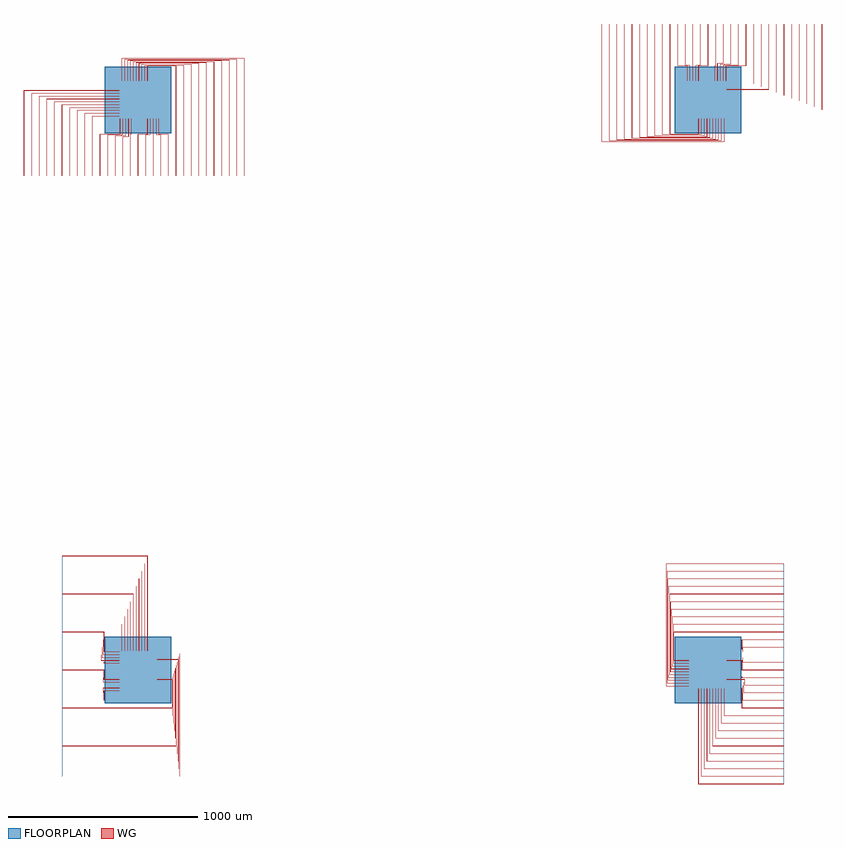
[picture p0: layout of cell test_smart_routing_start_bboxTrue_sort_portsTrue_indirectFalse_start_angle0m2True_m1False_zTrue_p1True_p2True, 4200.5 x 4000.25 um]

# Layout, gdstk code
import gdstk
lib = gdstk.Library(unit=1e-6, precision=1e-09)
def R(c, l, rs):  # rectangles x0, y0, x1, y1
    for r in rs: c.add(gdstk.rectangle(r[:2], r[2:], *l))
def P(c, l, *ps):  # polygons
    for p in ps: c.add(gdstk.Polygon(p, *l))
WG = (1, 0)
FLOORPLAN = (10, 0)

test_smart_routing_start = lib.new_cell('test_smart_routing_start_bboxTrue_sort_portsTrue_indirectFalse_start_angle0m2True_m1False_zTrue_p1True_p2True')
R(test_smart_routing_start, WG, [(-400,-80.25,-100,-80.05), (-400,-79.95,-100,-79.75), (3100,79.75,3400,79.95), (3100,80.05,3400,80.25), (79.75,2600,79.95,2900), (80.05,2600,80.25,2900), (2919.75,3100,2919.95,3400), (2920.05,3100,2920.25,3400)])
P(test_smart_routing_start, WG, [(3100,2950.05),(3100,2950.25),(3599.75,2950.25),(3599.75,3400),(3599.95,3400),(3599.95,2950.05)],
  [(3100,2949.75),(3100,2949.95),(3600.05,2949.95),(3600.05,3400),(3600.25,3400),(3600.25,2949.75)],
  [(3100,2965.05),(3100,2965.25),(3559.75,2965.25),(3559.75,3400),(3559.95,3400),(3559.95,2965.05)],
  [(3100,2964.75),(3100,2964.95),(3560.05,2964.95),(3560.05,3400),(3560.25,3400),(3560.25,2964.75)],
  [(3100,2980.05),(3100,2980.25),(3519.75,2980.25),(3519.75,3400),(3519.95,3400),(3519.95,2980.05)],
  [(3100,2979.75),(3100,2979.95),(3520.05,2979.95),(3520.05,3400),(3520.25,3400),(3520.25,2979.75)],
  [(3100,2995.05),(3100,2995.25),(3479.75,2995.25),(3479.75,3400),(3479.95,3400),(3479.95,2995.05)],
  [(3100,2994.75),(3100,2994.95),(3480.05,2994.95),(3480.05,3400),(3480.25,3400),(3480.25,2994.75)],
  [(3100,3010.05),(3100,3010.25),(3439.75,3010.25),(3439.75,3400),(3439.95,3400),(3439.95,3010.05)],
  [(3100,3009.75),(3100,3009.95),(3440.05,3009.95),(3440.05,3400),(3440.25,3400),(3440.25,3009.75)],
  [(3100,3025.05),(3100,3025.25),(3399.75,3025.25),(3399.75,3400),(3399.95,3400),(3399.95,3025.05)],
  [(3100,3024.75),(3100,3024.95),(3400.05,3024.95),(3400.05,3400),(3400.25,3400),(3400.25,3024.75)],
  [(3100,3040.05),(3100,3040.25),(3359.75,3040.25),(3359.75,3400),(3359.95,3400),(3359.95,3040.05)],
  [(3100,3039.75),(3100,3039.95),(3360.05,3039.95),(3360.05,3400),(3360.25,3400),(3360.25,3039.75)],
  [(3100,3055.05),(3100,3055.25),(3319.75,3055.25),(3319.75,3400),(3319.95,3400),(3319.95,3055.05)],
  [(3100,3054.75),(3100,3054.95),(3320.05,3054.95),(3320.05,3400),(3320.25,3400),(3320.25,3054.75)],
  [(3100,3070.05),(3100,3070.25),(3279.75,3070.25),(3279.75,3400),(3279.95,3400),(3279.95,3070.05)],
  [(3100,3069.75),(3100,3069.95),(3280.05,3069.95),(3280.05,3400),(3280.25,3400),(3280.25,3069.75)],
  [(3100,3085.05),(3100,3085.25),(3239.75,3085.25),(3239.75,3400),(3239.95,3400),(3239.95,3085.05)],
  [(3100,3084.75),(3100,3084.95),(3240.05,3084.95),(3240.05,3400),(3240.25,3400),(3240.25,3084.75)],
  [(3094.75,3100),(3094.75,3179.5),(3199.75,3179.5),(3199.75,3400),(3199.95,3400),(3199.95,3179.3),(3094.95,3179.3),(3094.95,3100)],
  [(3095.05,3100),(3095.05,3179.2),(3200.05,3179.2),(3200.05,3400),(3200.25,3400),(3200.25,3179),(3095.25,3179),(3095.25,3100)],
  [(3079.75,3100),(3079.75,3184),(3159.75,3184),(3159.75,3400),(3159.95,3400),(3159.95,3183.8),(3079.95,3183.8),(3079.95,3100)],
  [(3080.05,3100),(3080.05,3183.7),(3160.05,3183.7),(3160.05,3400),(3160.25,3400),(3160.25,3183.5),(3080.25,3183.5),(3080.25,3100)],
  [(3064.75,3100),(3064.75,3188.5),(3119.75,3188.5),(3119.75,3400),(3119.95,3400),(3119.95,3188.3),(3064.95,3188.3),(3064.95,3100)],
  [(3065.05,3100),(3065.05,3188.2),(3120.05,3188.2),(3120.05,3400),(3120.25,3400),(3120.25,3188),(3065.25,3188),(3065.25,3100)],
  [(3049.75,3100),(3049.75,3193),(3079.75,3193),(3079.75,3400),(3079.95,3400),(3079.95,3192.8),(3049.95,3192.8),(3049.95,3100)],
  [(3050.05,3100),(3050.05,3192.7),(3080.05,3192.7),(3080.05,3400),(3080.25,3400),(3080.25,3192.5),(3050.25,3192.5),(3050.25,3100)],
  [(3034.75,3100),(3034.75,3179.5),(3039.75,3179.5),(3039.75,3400),(3039.95,3400),(3039.95,3179.3),(3034.95,3179.3),(3034.95,3100)],
  [(3035.05,3100),(3035.05,3179.2),(3040.05,3179.2),(3040.05,3400),(3040.25,3400),(3040.25,3179),(3035.25,3179),(3035.25,3100)],
  [(2949.75,3100),(2949.75,3179.5),(2999.75,3179.5),(2999.75,3400),(2999.95,3400),(2999.95,3179.3),(2949.95,3179.3),(2949.95,3100)],
  [(2950.05,3100),(2950.05,3179.2),(3000.05,3179.2),(3000.05,3400),(3000.25,3400),(3000.25,3179),(2950.25,3179),(2950.25,3100)],
  [(2934.75,3100),(2934.75,3184),(2959.75,3184),(2959.75,3400),(2959.95,3400),(2959.95,3183.8),(2934.95,3183.8),(2934.95,3100)],
  [(2935.05,3100),(2935.05,3183.7),(2960.05,3183.7),(2960.05,3400),(2960.25,3400),(2960.25,3183.5),(2935.25,3183.5),(2935.25,3100)],
  [(2904.75,3100),(2904.75,3183.5),(2879.75,3183.5),(2879.75,3400),(2879.95,3400),(2879.95,3183.7),(2904.95,3183.7),(2904.95,3100)],
  [(2905.05,3100),(2905.05,3183.8),(2880.05,3183.8),(2880.05,3400),(2880.25,3400),(2880.25,3184),(2905.25,3184),(2905.25,3100)],
  [(2889.75,3100),(2889.75,3179),(2839.75,3179),(2839.75,3400),(2839.95,3400),(2839.95,3179.2),(2889.95,3179.2),(2889.95,3100)],
  [(2890.05,3100),(2890.05,3179.3),(2840.05,3179.3),(2840.05,3400),(2840.25,3400),(2840.25,3179.5),(2890.25,3179.5),(2890.25,3100)],
  [(2799.75,2820.5),(2799.75,3400),(2799.95,3400),(2799.95,2820.7),(2950.05,2820.7),(2950.05,2900),(2950.25,2900),(2950.25,2820.5)],
  [(2800.05,2820.8),(2800.05,3400),(2800.25,3400),(2800.25,2821),(2949.75,2821),(2949.75,2900),(2949.95,2900),(2949.95,2820.8)],
  [(2759.75,2816),(2759.75,3400),(2759.95,3400),(2759.95,2816.2),(2965.05,2816.2),(2965.05,2900),(2965.25,2900),(2965.25,2816)],
  [(2760.05,2816.3),(2760.05,3400),(2760.25,3400),(2760.25,2816.5),(2964.75,2816.5),(2964.75,2900),(2964.95,2900),(2964.95,2816.3)],
  [(2719.75,2811.5),(2719.75,3400),(2719.95,3400),(2719.95,2811.7),(2980.05,2811.7),(2980.05,2900),(2980.25,2900),(2980.25,2811.5)],
  [(2720.05,2811.8),(2720.05,3400),(2720.25,3400),(2720.25,2812),(2979.75,2812),(2979.75,2900),(2979.95,2900),(2979.95,2811.8)],
  [(2679.75,2807),(2679.75,3400),(2679.95,3400),(2679.95,2807.2),(2995.05,2807.2),(2995.05,2900),(2995.25,2900),(2995.25,2807)],
  [(2680.05,2807.3),(2680.05,3400),(2680.25,3400),(2680.25,2807.5),(2994.75,2807.5),(2994.75,2900),(2994.95,2900),(2994.95,2807.3)],
  [(2639.75,2802.5),(2639.75,3400),(2639.95,3400),(2639.95,2802.7),(3010.05,2802.7),(3010.05,2900),(3010.25,2900),(3010.25,2802.5)],
  [(2640.05,2802.8),(2640.05,3400),(2640.25,3400),(2640.25,2803),(3009.75,2803),(3009.75,2900),(3009.95,2900),(3009.95,2802.8)],
  [(2599.75,2798),(2599.75,3400),(2599.95,3400),(2599.95,2798.2),(3025.05,2798.2),(3025.05,2900),(3025.25,2900),(3025.25,2798)],
  [(2600.05,2798.3),(2600.05,3400),(2600.25,3400),(2600.25,2798.5),(3024.75,2798.5),(3024.75,2900),(3024.95,2900),(3024.95,2798.3)],
  [(2559.75,2793.5),(2559.75,3400),(2559.95,3400),(2559.95,2793.7),(3040.05,2793.7),(3040.05,2900),(3040.25,2900),(3040.25,2793.5)],
  [(2560.05,2793.8),(2560.05,3400),(2560.25,3400),(2560.25,2794),(3039.75,2794),(3039.75,2900),(3039.95,2900),(3039.95,2793.8)],
  [(2519.75,2789),(2519.75,3400),(2519.95,3400),(2519.95,2789.2),(3055.05,2789.2),(3055.05,2900),(3055.25,2900),(3055.25,2789)],
  [(2520.05,2789.3),(2520.05,3400),(2520.25,3400),(2520.25,2789.5),(3054.75,2789.5),(3054.75,2900),(3054.95,2900),(3054.95,2789.3)],
  [(2479.75,2784.5),(2479.75,3400),(2479.95,3400),(2479.95,2784.7),(3070.05,2784.7),(3070.05,2900),(3070.25,2900),(3070.25,2784.5)],
  [(2480.05,2784.8),(2480.05,3400),(2480.25,3400),(2480.25,2785),(3069.75,2785),(3069.75,2900),(3069.95,2900),(3069.95,2784.8)],
  [(2439.75,2780),(2439.75,3400),(2439.95,3400),(2439.95,2780.2),(3085.05,2780.2),(3085.05,2900),(3085.25,2900),(3085.25,2780)],
  [(2440.05,2780.3),(2440.05,3400),(2440.25,3400),(2440.25,2780.5),(3084.75,2780.5),(3084.75,2900),(3084.95,2900),(3084.95,2780.3)],
  [(-599.95,2600),(-599.95,3049.95),(-100,3049.95),(-100,3049.75),(-599.75,3049.75),(-599.75,2600)],
  [(-600.25,2600),(-600.25,3050.25),(-100,3050.25),(-100,3050.05),(-600.05,3050.05),(-600.05,2600)],
  [(-559.95,2600),(-559.95,3034.95),(-100,3034.95),(-100,3034.75),(-559.75,3034.75),(-559.75,2600)],
  [(-560.25,2600),(-560.25,3035.25),(-100,3035.25),(-100,3035.05),(-560.05,3035.05),(-560.05,2600)],
  [(-519.95,2600),(-519.95,3019.95),(-100,3019.95),(-100,3019.75),(-519.75,3019.75),(-519.75,2600)],
  [(-520.25,2600),(-520.25,3020.25),(-100,3020.25),(-100,3020.05),(-520.05,3020.05),(-520.05,2600)],
  [(-479.95,2600),(-479.95,3004.95),(-100,3004.95),(-100,3004.75),(-479.75,3004.75),(-479.75,2600)],
  [(-480.25,2600),(-480.25,3005.25),(-100,3005.25),(-100,3005.05),(-480.05,3005.05),(-480.05,2600)],
  [(-439.95,2600),(-439.95,2989.95),(-100,2989.95),(-100,2989.75),(-439.75,2989.75),(-439.75,2600)],
  [(-440.25,2600),(-440.25,2990.25),(-100,2990.25),(-100,2990.05),(-440.05,2990.05),(-440.05,2600)],
  [(-399.95,2600),(-399.95,2974.95),(-100,2974.95),(-100,2974.75),(-399.75,2974.75),(-399.75,2600)],
  [(-400.25,2600),(-400.25,2975.25),(-100,2975.25),(-100,2975.05),(-400.05,2975.05),(-400.05,2600)],
  [(-359.95,2600),(-359.95,2959.95),(-100,2959.95),(-100,2959.75),(-359.75,2959.75),(-359.75,2600)],
  [(-360.25,2600),(-360.25,2960.25),(-100,2960.25),(-100,2960.05),(-360.05,2960.05),(-360.05,2600)],
  [(-319.95,2600),(-319.95,2944.95),(-100,2944.95),(-100,2944.75),(-319.75,2944.75),(-319.75,2600)],
  [(-320.25,2600),(-320.25,2945.25),(-100,2945.25),(-100,2945.05),(-320.05,2945.05),(-320.05,2600)],
  [(-279.95,2600),(-279.95,2929.95),(-100,2929.95),(-100,2929.75),(-279.75,2929.75),(-279.75,2600)],
  [(-280.25,2600),(-280.25,2930.25),(-100,2930.25),(-100,2930.05),(-280.05,2930.05),(-280.05,2600)],
  [(-239.95,2600),(-239.95,2914.95),(-100,2914.95),(-100,2914.75),(-239.75,2914.75),(-239.75,2600)],
  [(-240.25,2600),(-240.25,2915.25),(-100,2915.25),(-100,2915.05),(-240.05,2915.05),(-240.05,2600)],
  [(-200.25,2600),(-200.25,2821),(-95.25,2821),(-95.25,2900),(-95.05,2900),(-95.05,2820.8),(-200.05,2820.8),(-200.05,2600)],
  [(-199.95,2600),(-199.95,2820.7),(-94.95,2820.7),(-94.95,2900),(-94.75,2900),(-94.75,2820.5),(-199.75,2820.5),(-199.75,2600)],
  [(-160.25,2600),(-160.25,2816.5),(-80.25,2816.5),(-80.25,2900),(-80.05,2900),(-80.05,2816.3),(-160.05,2816.3),(-160.05,2600)],
  [(-159.95,2600),(-159.95,2816.2),(-79.95,2816.2),(-79.95,2900),(-79.75,2900),(-79.75,2816),(-159.75,2816),(-159.75,2600)],
  [(-120.25,2600),(-120.25,2812),(-65.25,2812),(-65.25,2900),(-65.05,2900),(-65.05,2811.8),(-120.05,2811.8),(-120.05,2600)],
  [(-119.95,2600),(-119.95,2811.7),(-64.95,2811.7),(-64.95,2900),(-64.75,2900),(-64.75,2811.5),(-119.75,2811.5),(-119.75,2600)],
  [(-80.25,2600),(-80.25,2807.5),(-50.25,2807.5),(-50.25,2900),(-50.05,2900),(-50.05,2807.3),(-80.05,2807.3),(-80.05,2600)],
  [(-79.95,2600),(-79.95,2807.2),(-49.95,2807.2),(-49.95,2900),(-49.75,2900),(-49.75,2807),(-79.75,2807),(-79.75,2600)],
  [(-40.25,2600),(-40.25,2821),(-35.25,2821),(-35.25,2900),(-35.05,2900),(-35.05,2820.8),(-40.05,2820.8),(-40.05,2600)],
  [(-39.95,2600),(-39.95,2820.7),(-34.95,2820.7),(-34.95,2900),(-34.75,2900),(-34.75,2820.5),(-39.75,2820.5),(-39.75,2600)],
  [(-0.25,2600),(-0.25,2821),(49.75,2821),(49.75,2900),(49.95,2900),(49.95,2820.8),(-0.05,2820.8),(-0.05,2600)],
  [(0.05,2600),(0.05,2820.7),(50.05,2820.7),(50.05,2900),(50.25,2900),(50.25,2820.5),(0.25,2820.5),(0.25,2600)],
  [(39.75,2600),(39.75,2816.5),(64.75,2816.5),(64.75,2900),(64.95,2900),(64.95,2816.3),(39.95,2816.3),(39.95,2600)],
  [(40.05,2600),(40.05,2816.2),(65.05,2816.2),(65.05,2900),(65.25,2900),(65.25,2816),(40.25,2816),(40.25,2600)],
  [(119.75,2600),(119.75,2816),(94.75,2816),(94.75,2900),(94.95,2900),(94.95,2816.2),(119.95,2816.2),(119.95,2600)],
  [(120.05,2600),(120.05,2816.3),(95.05,2816.3),(95.05,2900),(95.25,2900),(95.25,2816.5),(120.25,2816.5),(120.25,2600)],
  [(159.75,2600),(159.75,2820.5),(109.75,2820.5),(109.75,2900),(109.95,2900),(109.95,2820.7),(159.95,2820.7),(159.95,2600)],
  [(160.05,2600),(160.05,2820.8),(110.05,2820.8),(110.05,2900),(110.25,2900),(110.25,2821),(160.25,2821),(160.25,2600)],
  [(199.75,2600),(199.75,3179),(50.25,3179),(50.25,3100),(50.05,3100),(50.05,3179.2),(199.95,3179.2),(199.95,2600)],
  [(200.05,2600),(200.05,3179.3),(49.95,3179.3),(49.95,3100),(49.75,3100),(49.75,3179.5),(200.25,3179.5),(200.25,2600)],
  [(239.75,2600),(239.75,3183.5),(35.25,3183.5),(35.25,3100),(35.05,3100),(35.05,3183.7),(239.95,3183.7),(239.95,2600)],
  [(240.05,2600),(240.05,3183.8),(34.95,3183.8),(34.95,3100),(34.75,3100),(34.75,3184),(240.25,3184),(240.25,2600)],
  [(279.75,2600),(279.75,3188),(20.25,3188),(20.25,3100),(20.05,3100),(20.05,3188.2),(279.95,3188.2),(279.95,2600)],
  [(280.05,2600),(280.05,3188.3),(19.95,3188.3),(19.95,3100),(19.75,3100),(19.75,3188.5),(280.25,3188.5),(280.25,2600)],
  [(319.75,2600),(319.75,3192.5),(5.25,3192.5),(5.25,3100),(5.05,3100),(5.05,3192.7),(319.95,3192.7),(319.95,2600)],
  [(320.05,2600),(320.05,3192.8),(4.95,3192.8),(4.95,3100),(4.75,3100),(4.75,3193),(320.25,3193),(320.25,2600)],
  [(359.75,2600),(359.75,3197),(-9.75,3197),(-9.75,3100),(-9.95,3100),(-9.95,3197.2),(359.95,3197.2),(359.95,2600)],
  [(360.05,2600),(360.05,3197.3),(-10.05,3197.3),(-10.05,3100),(-10.25,3100),(-10.25,3197.5),(360.25,3197.5),(360.25,2600)],
  [(399.75,2600),(399.75,3201.5),(-24.75,3201.5),(-24.75,3100),(-24.95,3100),(-24.95,3201.7),(399.95,3201.7),(399.95,2600)],
  [(400.05,2600),(400.05,3201.8),(-25.05,3201.8),(-25.05,3100),(-25.25,3100),(-25.25,3202),(400.25,3202),(400.25,2600)],
  [(439.75,2600),(439.75,3206),(-39.75,3206),(-39.75,3100),(-39.95,3100),(-39.95,3206.2),(439.95,3206.2),(439.95,2600)],
  [(440.05,2600),(440.05,3206.3),(-40.05,3206.3),(-40.05,3100),(-40.25,3100),(-40.25,3206.5),(440.25,3206.5),(440.25,2600)],
  [(479.75,2600),(479.75,3210.5),(-54.75,3210.5),(-54.75,3100),(-54.95,3100),(-54.95,3210.7),(479.95,3210.7),(479.95,2600)],
  [(480.05,2600),(480.05,3210.8),(-55.05,3210.8),(-55.05,3100),(-55.25,3100),(-55.25,3211),(480.25,3211),(480.25,2600)],
  [(519.75,2600),(519.75,3215),(-69.75,3215),(-69.75,3100),(-69.95,3100),(-69.95,3215.2),(519.95,3215.2),(519.95,2600)],
  [(520.05,2600),(520.05,3215.3),(-70.05,3215.3),(-70.05,3100),(-70.25,3100),(-70.25,3215.5),(520.25,3215.5),(520.25,2600)],
  [(559.75,2600),(559.75,3219.5),(-84.75,3219.5),(-84.75,3100),(-84.95,3100),(-84.95,3219.7),(559.95,3219.7),(559.95,2600)],
  [(560.05,2600),(560.05,3219.8),(-85.05,3219.8),(-85.05,3100),(-85.25,3100),(-85.25,3220),(560.25,3220),(560.25,2600)],
  [(49.75,100),(49.75,599.75),(-400,599.75),(-400,599.95),(49.95,599.95),(49.95,100)],
  [(50.05,100),(50.05,600.05),(-400,600.05),(-400,600.25),(50.25,600.25),(50.25,100)],
  [(34.75,100),(34.75,559.75),(-400,559.75),(-400,559.95),(34.95,559.95),(34.95,100)],
  [(35.05,100),(35.05,560.05),(-400,560.05),(-400,560.25),(35.25,560.25),(35.25,100)],
  [(19.75,100),(19.75,519.75),(-400,519.75),(-400,519.95),(19.95,519.95),(19.95,100)],
  [(20.05,100),(20.05,520.05),(-400,520.05),(-400,520.25),(20.25,520.25),(20.25,100)],
  [(4.75,100),(4.75,479.75),(-400,479.75),(-400,479.95),(4.95,479.95),(4.95,100)],
  [(5.05,100),(5.05,480.05),(-400,480.05),(-400,480.25),(5.25,480.25),(5.25,100)],
  [(-10.25,100),(-10.25,439.75),(-400,439.75),(-400,439.95),(-10.05,439.95),(-10.05,100)],
  [(-9.95,100),(-9.95,440.05),(-400,440.05),(-400,440.25),(-9.75,440.25),(-9.75,100)],
  [(-25.25,100),(-25.25,399.75),(-400,399.75),(-400,399.95),(-25.05,399.95),(-25.05,100)],
  [(-24.95,100),(-24.95,400.05),(-400,400.05),(-400,400.25),(-24.75,400.25),(-24.75,100)],
  [(-40.25,100),(-40.25,359.75),(-400,359.75),(-400,359.95),(-40.05,359.95),(-40.05,100)],
  [(-39.95,100),(-39.95,360.05),(-400,360.05),(-400,360.25),(-39.75,360.25),(-39.75,100)],
  [(-55.25,100),(-55.25,319.75),(-400,319.75),(-400,319.95),(-55.05,319.95),(-55.05,100)],
  [(-54.95,100),(-54.95,320.05),(-400,320.05),(-400,320.25),(-54.75,320.25),(-54.75,100)],
  [(-70.25,100),(-70.25,279.75),(-400,279.75),(-400,279.95),(-70.05,279.95),(-70.05,100)],
  [(-69.95,100),(-69.95,280.05),(-400,280.05),(-400,280.25),(-69.75,280.25),(-69.75,100)],
  [(-85.25,100),(-85.25,239.75),(-400,239.75),(-400,239.95),(-85.05,239.95),(-85.05,100)],
  [(-84.95,100),(-84.95,240.05),(-400,240.05),(-400,240.25),(-84.75,240.25),(-84.75,100)],
  [(-179.5,94.75),(-179.5,199.75),(-400,199.75),(-400,199.95),(-179.3,199.95),(-179.3,94.95),(-100,94.95),(-100,94.75)],
  [(-179.2,95.05),(-179.2,200.05),(-400,200.05),(-400,200.25),(-179,200.25),(-179,95.25),(-100,95.25),(-100,95.05)],
  [(-184,79.75),(-184,159.75),(-400,159.75),(-400,159.95),(-183.8,159.95),(-183.8,79.95),(-100,79.95),(-100,79.75)],
  [(-183.7,80.05),(-183.7,160.05),(-400,160.05),(-400,160.25),(-183.5,160.25),(-183.5,80.25),(-100,80.25),(-100,80.05)],
  [(-188.5,64.75),(-188.5,119.75),(-400,119.75),(-400,119.95),(-188.3,119.95),(-188.3,64.95),(-100,64.95),(-100,64.75)],
  [(-188.2,65.05),(-188.2,120.05),(-400,120.05),(-400,120.25),(-188,120.25),(-188,65.25),(-100,65.25),(-100,65.05)],
  [(-193,49.75),(-193,79.75),(-400,79.75),(-400,79.95),(-192.8,79.95),(-192.8,49.95),(-100,49.95),(-100,49.75)],
  [(-192.7,50.05),(-192.7,80.05),(-400,80.05),(-400,80.25),(-192.5,80.25),(-192.5,50.25),(-100,50.25),(-100,50.05)],
  [(-179.5,34.75),(-179.5,39.75),(-400,39.75),(-400,39.95),(-179.3,39.95),(-179.3,34.95),(-100,34.95),(-100,34.75)],
  [(-179.2,35.05),(-179.2,40.05),(-400,40.05),(-400,40.25),(-179,40.25),(-179,35.25),(-100,35.25),(-100,35.05)],
  [(-179.5,-50.25),(-179.5,-0.25),(-400,-0.25),(-400,-0.05),(-179.3,-0.05),(-179.3,-50.05),(-100,-50.05),(-100,-50.25)],
  [(-179.2,-49.95),(-179.2,0.05),(-400,0.05),(-400,0.25),(-179,0.25),(-179,-49.75),(-100,-49.75),(-100,-49.95)],
  [(-184,-65.25),(-184,-40.25),(-400,-40.25),(-400,-40.05),(-183.8,-40.05),(-183.8,-65.05),(-100,-65.05),(-100,-65.25)],
  [(-183.7,-64.95),(-183.7,-39.95),(-400,-39.95),(-400,-39.75),(-183.5,-39.75),(-183.5,-64.75),(-100,-64.75),(-100,-64.95)],
  [(-400,-120.25),(-400,-120.05),(-183.7,-120.05),(-183.7,-95.05),(-100,-95.05),(-100,-95.25),(-183.5,-95.25),(-183.5,-120.25)],
  [(-400,-119.95),(-400,-119.75),(-184,-119.75),(-184,-94.75),(-100,-94.75),(-100,-94.95),(-183.8,-94.95),(-183.8,-119.95)],
  [(-400,-160.25),(-400,-160.05),(-179.2,-160.05),(-179.2,-110.05),(-100,-110.05),(-100,-110.25),(-179,-110.25),(-179,-160.25)],
  [(-400,-159.95),(-400,-159.75),(-179.5,-159.75),(-179.5,-109.75),(-100,-109.75),(-100,-109.95),(-179.3,-109.95),(-179.3,-159.95)],
  [(-400,-199.95),(-400,-199.75),(179,-199.75),(179,-50.25),(100,-50.25),(100,-50.05),(179.2,-50.05),(179.2,-199.95)],
  [(-400,-200.25),(-400,-200.05),(179.3,-200.05),(179.3,-49.95),(100,-49.95),(100,-49.75),(179.5,-49.75),(179.5,-200.25)],
  [(-400,-239.95),(-400,-239.75),(183.5,-239.75),(183.5,-35.25),(100,-35.25),(100,-35.05),(183.7,-35.05),(183.7,-239.95)],
  [(-400,-240.25),(-400,-240.05),(183.8,-240.05),(183.8,-34.95),(100,-34.95),(100,-34.75),(184,-34.75),(184,-240.25)],
  [(-400,-279.95),(-400,-279.75),(188,-279.75),(188,-20.25),(100,-20.25),(100,-20.05),(188.2,-20.05),(188.2,-279.95)],
  [(-400,-280.25),(-400,-280.05),(188.3,-280.05),(188.3,-19.95),(100,-19.95),(100,-19.75),(188.5,-19.75),(188.5,-280.25)],
  [(-400,-319.95),(-400,-319.75),(192.5,-319.75),(192.5,-5.25),(100,-5.25),(100,-5.05),(192.7,-5.05),(192.7,-319.95)],
  [(-400,-320.25),(-400,-320.05),(192.8,-320.05),(192.8,-4.95),(100,-4.95),(100,-4.75),(193,-4.75),(193,-320.25)],
  [(-400,-359.95),(-400,-359.75),(197,-359.75),(197,9.75),(100,9.75),(100,9.95),(197.2,9.95),(197.2,-359.95)],
  [(-400,-360.25),(-400,-360.05),(197.3,-360.05),(197.3,10.05),(100,10.05),(100,10.25),(197.5,10.25),(197.5,-360.25)],
  [(-400,-399.95),(-400,-399.75),(201.5,-399.75),(201.5,24.75),(100,24.75),(100,24.95),(201.7,24.95),(201.7,-399.95)],
  [(-400,-400.25),(-400,-400.05),(201.8,-400.05),(201.8,25.05),(100,25.05),(100,25.25),(202,25.25),(202,-400.25)],
  [(-400,-439.95),(-400,-439.75),(206,-439.75),(206,39.75),(100,39.75),(100,39.95),(206.2,39.95),(206.2,-439.95)],
  [(-400,-440.25),(-400,-440.05),(206.3,-440.05),(206.3,40.05),(100,40.05),(100,40.25),(206.5,40.25),(206.5,-440.25)],
  [(-400,-479.95),(-400,-479.75),(210.5,-479.75),(210.5,54.75),(100,54.75),(100,54.95),(210.7,54.95),(210.7,-479.95)],
  [(-400,-480.25),(-400,-480.05),(210.8,-480.05),(210.8,55.05),(100,55.05),(100,55.25),(211,55.25),(211,-480.25)],
  [(-400,-519.95),(-400,-519.75),(215,-519.75),(215,69.75),(100,69.75),(100,69.95),(215.2,69.95),(215.2,-519.95)],
  [(-400,-520.25),(-400,-520.05),(215.3,-520.05),(215.3,70.05),(100,70.05),(100,70.25),(215.5,70.25),(215.5,-520.25)],
  [(-400,-559.95),(-400,-559.75),(219.5,-559.75),(219.5,84.75),(100,84.75),(100,84.95),(219.7,84.95),(219.7,-559.95)],
  [(-400,-560.25),(-400,-560.05),(219.8,-560.05),(219.8,85.05),(100,85.05),(100,85.25),(220,85.25),(220,-560.25)],
  [(2949.75,-600.25),(2949.75,-100),(2949.95,-100),(2949.95,-600.05),(3400,-600.05),(3400,-600.25)],
  [(2950.05,-599.95),(2950.05,-100),(2950.25,-100),(2950.25,-599.75),(3400,-599.75),(3400,-599.95)],
  [(2964.75,-560.25),(2964.75,-100),(2964.95,-100),(2964.95,-560.05),(3400,-560.05),(3400,-560.25)],
  [(2965.05,-559.95),(2965.05,-100),(2965.25,-100),(2965.25,-559.75),(3400,-559.75),(3400,-559.95)],
  [(2979.75,-520.25),(2979.75,-100),(2979.95,-100),(2979.95,-520.05),(3400,-520.05),(3400,-520.25)],
  [(2980.05,-519.95),(2980.05,-100),(2980.25,-100),(2980.25,-519.75),(3400,-519.75),(3400,-519.95)],
  [(2994.75,-480.25),(2994.75,-100),(2994.95,-100),(2994.95,-480.05),(3400,-480.05),(3400,-480.25)],
  [(2995.05,-479.95),(2995.05,-100),(2995.25,-100),(2995.25,-479.75),(3400,-479.75),(3400,-479.95)],
  [(3009.75,-440.25),(3009.75,-100),(3009.95,-100),(3009.95,-440.05),(3400,-440.05),(3400,-440.25)],
  [(3010.05,-439.95),(3010.05,-100),(3010.25,-100),(3010.25,-439.75),(3400,-439.75),(3400,-439.95)],
  [(3024.75,-400.25),(3024.75,-100),(3024.95,-100),(3024.95,-400.05),(3400,-400.05),(3400,-400.25)],
  [(3025.05,-399.95),(3025.05,-100),(3025.25,-100),(3025.25,-399.75),(3400,-399.75),(3400,-399.95)],
  [(3039.75,-360.25),(3039.75,-100),(3039.95,-100),(3039.95,-360.05),(3400,-360.05),(3400,-360.25)],
  [(3040.05,-359.95),(3040.05,-100),(3040.25,-100),(3040.25,-359.75),(3400,-359.75),(3400,-359.95)],
  [(3054.75,-320.25),(3054.75,-100),(3054.95,-100),(3054.95,-320.05),(3400,-320.05),(3400,-320.25)],
  [(3055.05,-319.95),(3055.05,-100),(3055.25,-100),(3055.25,-319.75),(3400,-319.75),(3400,-319.95)],
  [(3069.75,-280.25),(3069.75,-100),(3069.95,-100),(3069.95,-280.05),(3400,-280.05),(3400,-280.25)],
  [(3070.05,-279.95),(3070.05,-100),(3070.25,-100),(3070.25,-279.75),(3400,-279.75),(3400,-279.95)],
  [(3084.75,-240.25),(3084.75,-100),(3084.95,-100),(3084.95,-240.05),(3400,-240.05),(3400,-240.25)],
  [(3085.05,-239.95),(3085.05,-100),(3085.25,-100),(3085.25,-239.75),(3400,-239.75),(3400,-239.95)],
  [(3179,-200.25),(3179,-95.25),(3100,-95.25),(3100,-95.05),(3179.2,-95.05),(3179.2,-200.05),(3400,-200.05),(3400,-200.25)],
  [(3179.3,-199.95),(3179.3,-94.95),(3100,-94.95),(3100,-94.75),(3179.5,-94.75),(3179.5,-199.75),(3400,-199.75),(3400,-199.95)],
  [(3183.5,-160.25),(3183.5,-80.25),(3100,-80.25),(3100,-80.05),(3183.7,-80.05),(3183.7,-160.05),(3400,-160.05),(3400,-160.25)],
  [(3183.8,-159.95),(3183.8,-79.95),(3100,-79.95),(3100,-79.75),(3184,-79.75),(3184,-159.75),(3400,-159.75),(3400,-159.95)],
  [(3188,-120.25),(3188,-65.25),(3100,-65.25),(3100,-65.05),(3188.2,-65.05),(3188.2,-120.05),(3400,-120.05),(3400,-120.25)],
  [(3188.3,-119.95),(3188.3,-64.95),(3100,-64.95),(3100,-64.75),(3188.5,-64.75),(3188.5,-119.75),(3400,-119.75),(3400,-119.95)],
  [(3192.5,-80.25),(3192.5,-50.25),(3100,-50.25),(3100,-50.05),(3192.7,-50.05),(3192.7,-80.05),(3400,-80.05),(3400,-80.25)],
  [(3192.8,-79.95),(3192.8,-49.95),(3100,-49.95),(3100,-49.75),(3193,-49.75),(3193,-79.75),(3400,-79.75),(3400,-79.95)],
  [(3179,-40.25),(3179,-35.25),(3100,-35.25),(3100,-35.05),(3179.2,-35.05),(3179.2,-40.05),(3400,-40.05),(3400,-40.25)],
  [(3179.3,-39.95),(3179.3,-34.95),(3100,-34.95),(3100,-34.75),(3179.5,-34.75),(3179.5,-39.75),(3400,-39.75),(3400,-39.95)],
  [(3179,-0.25),(3179,49.75),(3100,49.75),(3100,49.95),(3179.2,49.95),(3179.2,-0.05),(3400,-0.05),(3400,-0.25)],
  [(3179.3,0.05),(3179.3,50.05),(3100,50.05),(3100,50.25),(3179.5,50.25),(3179.5,0.25),(3400,0.25),(3400,0.05)],
  [(3183.5,39.75),(3183.5,64.75),(3100,64.75),(3100,64.95),(3183.7,64.95),(3183.7,39.95),(3400,39.95),(3400,39.75)],
  [(3183.8,40.05),(3183.8,65.05),(3100,65.05),(3100,65.25),(3184,65.25),(3184,40.25),(3400,40.25),(3400,40.05)],
  [(3100,94.75),(3100,94.95),(3183.8,94.95),(3183.8,119.95),(3400,119.95),(3400,119.75),(3184,119.75),(3184,94.75)],
  [(3100,95.05),(3100,95.25),(3183.5,95.25),(3183.5,120.25),(3400,120.25),(3400,120.05),(3183.7,120.05),(3183.7,95.05)],
  [(3100,109.75),(3100,109.95),(3179.3,109.95),(3179.3,159.95),(3400,159.95),(3400,159.75),(3179.5,159.75),(3179.5,109.75)],
  [(3100,110.05),(3100,110.25),(3179,110.25),(3179,160.25),(3400,160.25),(3400,160.05),(3179.2,160.05),(3179.2,110.05)],
  [(2820.8,50.05),(2820.8,199.95),(3400,199.95),(3400,199.75),(2821,199.75),(2821,50.25),(2900,50.25),(2900,50.05)],
  [(2820.5,49.75),(2820.5,200.25),(3400,200.25),(3400,200.05),(2820.7,200.05),(2820.7,49.95),(2900,49.95),(2900,49.75)],
  [(2816.3,35.05),(2816.3,239.95),(3400,239.95),(3400,239.75),(2816.5,239.75),(2816.5,35.25),(2900,35.25),(2900,35.05)],
  [(2816,34.75),(2816,240.25),(3400,240.25),(3400,240.05),(2816.2,240.05),(2816.2,34.95),(2900,34.95),(2900,34.75)],
  [(2811.8,20.05),(2811.8,279.95),(3400,279.95),(3400,279.75),(2812,279.75),(2812,20.25),(2900,20.25),(2900,20.05)],
  [(2811.5,19.75),(2811.5,280.25),(3400,280.25),(3400,280.05),(2811.7,280.05),(2811.7,19.95),(2900,19.95),(2900,19.75)],
  [(2807.3,5.05),(2807.3,319.95),(3400,319.95),(3400,319.75),(2807.5,319.75),(2807.5,5.25),(2900,5.25),(2900,5.05)],
  [(2807,4.75),(2807,320.25),(3400,320.25),(3400,320.05),(2807.2,320.05),(2807.2,4.95),(2900,4.95),(2900,4.75)],
  [(2802.8,-9.95),(2802.8,359.95),(3400,359.95),(3400,359.75),(2803,359.75),(2803,-9.75),(2900,-9.75),(2900,-9.95)],
  [(2802.5,-10.25),(2802.5,360.25),(3400,360.25),(3400,360.05),(2802.7,360.05),(2802.7,-10.05),(2900,-10.05),(2900,-10.25)],
  [(2798.3,-24.95),(2798.3,399.95),(3400,399.95),(3400,399.75),(2798.5,399.75),(2798.5,-24.75),(2900,-24.75),(2900,-24.95)],
  [(2798,-25.25),(2798,400.25),(3400,400.25),(3400,400.05),(2798.2,400.05),(2798.2,-25.05),(2900,-25.05),(2900,-25.25)],
  [(2793.8,-39.95),(2793.8,439.95),(3400,439.95),(3400,439.75),(2794,439.75),(2794,-39.75),(2900,-39.75),(2900,-39.95)],
  [(2793.5,-40.25),(2793.5,440.25),(3400,440.25),(3400,440.05),(2793.7,440.05),(2793.7,-40.05),(2900,-40.05),(2900,-40.25)],
  [(2789.3,-54.95),(2789.3,479.95),(3400,479.95),(3400,479.75),(2789.5,479.75),(2789.5,-54.75),(2900,-54.75),(2900,-54.95)],
  [(2789,-55.25),(2789,480.25),(3400,480.25),(3400,480.05),(2789.2,480.05),(2789.2,-55.05),(2900,-55.05),(2900,-55.25)],
  [(2784.8,-69.95),(2784.8,519.95),(3400,519.95),(3400,519.75),(2785,519.75),(2785,-69.75),(2900,-69.75),(2900,-69.95)],
  [(2784.5,-70.25),(2784.5,520.25),(3400,520.25),(3400,520.05),(2784.7,520.05),(2784.7,-70.05),(2900,-70.05),(2900,-70.25)],
  [(2780.3,-84.95),(2780.3,559.95),(3400,559.95),(3400,559.75),(2780.5,559.75),(2780.5,-84.75),(2900,-84.75),(2900,-84.95)],
  [(2780,-85.25),(2780,560.25),(3400,560.25),(3400,560.05),(2780.2,560.05),(2780.2,-85.05),(2900,-85.05),(2900,-85.25)])
R(test_smart_routing_start, FLOORPLAN, [(-175,-175,175,175), (2825,-175,3175,175), (-175,2825,175,3175), (2825,2825,3175,3175)])
P(test_smart_routing_start, FLOORPLAN, [(-400,-560),(-400,600),(-400,600),(-400,-560)],
  [(-600,2600),(-600,2600),(560,2600),(560,2600)],
  [(3400,-600),(3400,560),(3400,560),(3400,-600)],
  [(2440,3400),(2440,3400),(3600,3400),(3600,3400)])

lib.write_gds('test_smart_routing_start_bboxTrue_sort_portsTrue_indirectFalse_start_angle0m2True_m1False_zTrue_p1True_p2True.gds')
